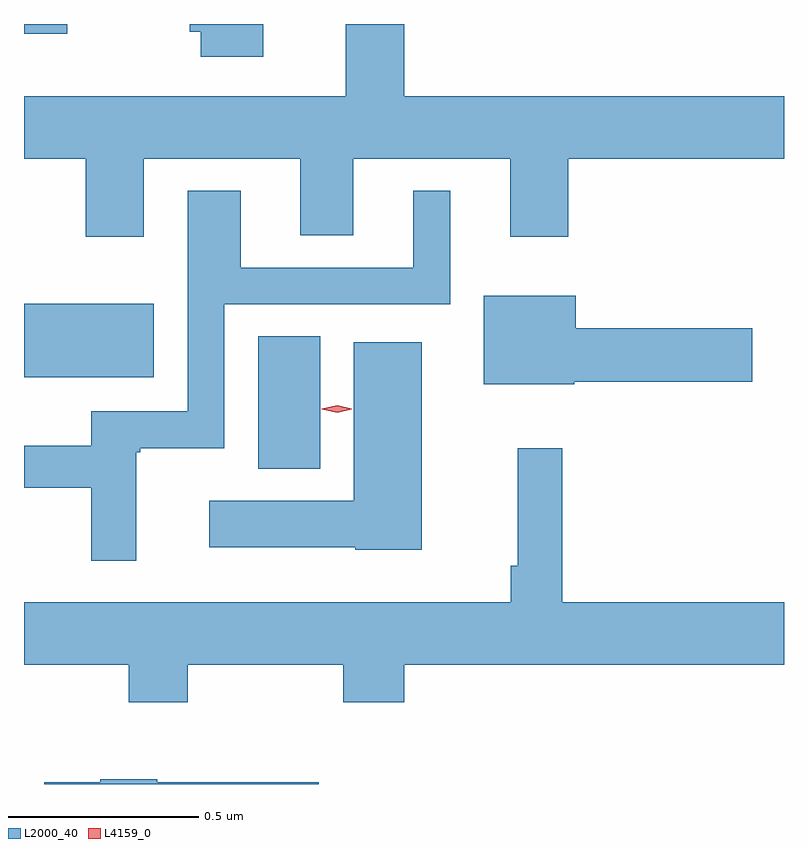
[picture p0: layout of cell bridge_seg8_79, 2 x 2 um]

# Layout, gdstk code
import gdstk
lib = gdstk.Library(unit=1e-6, precision=1e-09)
def R(c, l, rs):  # rectangles x0, y0, x1, y1
    for r in rs: c.add(gdstk.rectangle(r[:2], r[2:], *l))
def P(c, l, *ps):  # polygons
    for p in ps: c.add(gdstk.Polygon(p, *l))
L2000_40 = (2000, 40)
L4159_0 = (4159, 0)

bridge_seg8_79 = lib.new_cell('bridge_seg8_79')
R(bridge_seg8_79, L2000_40, [(1011.362,1093.04,1011.526,1093.388), (1010.746,1093.28,1011.088,1093.474), (1010.746,1094.184,1010.86,1094.21)])
P(bridge_seg8_79, L2000_40, [(1011.061,1093.856),(1011.473,1093.856),(1011.473,1093.654),(1011.613,1093.654),(1011.613,1093.856),(1012.025,1093.856),(1012.025,1093.65),(1012.178,1093.65),(1012.178,1093.856),(1012.746,1093.856),(1012.746,1094.02),(1011.746,1094.02),(1011.746,1094.21),(1011.593,1094.21),(1011.593,1094.02),(1010.746,1094.02),(1010.746,1093.856),(1010.909,1093.856),(1010.909,1093.65),(1011.061,1093.65)],
  [(1011.376,1094.21),(1011.182,1094.21),(1011.182,1094.189),(1011.211,1094.189),(1011.211,1094.124),(1011.376,1094.124)],
  [(1011.041,1093.083),(1011.052,1093.083),(1011.052,1093.094),(1011.273,1093.094),(1011.273,1093.473),(1011.868,1093.473),(1011.868,1093.771),(1011.77,1093.771),(1011.77,1093.569),(1011.316,1093.569),(1011.316,1093.771),(1011.177,1093.771),(1011.177,1093.191),(1010.923,1093.191),(1010.923,1093.1),(1010.746,1093.1),(1010.746,1092.99),(1010.923,1092.99),(1010.923,1092.798),(1011.041,1092.798)],
  [(1012.194,1093.268),(1012.663,1093.268),(1012.663,1093.41),(1012.198,1093.41),(1012.198,1093.495),(1011.956,1093.495),(1011.956,1093.262),(1012.194,1093.262)],
  [(1011.793,1093.372),(1011.614,1093.372),(1011.614,1092.955),(1011.234,1092.955),(1011.234,1092.833),(1011.618,1092.833),(1011.618,1092.827),(1011.793,1092.827)],
  [(1011.177,1092.524),(1011.586,1092.524),(1011.586,1092.425),(1011.746,1092.425),(1011.746,1092.524),(1012.746,1092.524),(1012.746,1092.688),(1012.163,1092.688),(1012.163,1093.093),(1012.045,1093.093),(1012.045,1092.784),(1012.027,1092.784),(1012.027,1092.688),(1010.746,1092.688),(1010.746,1092.524),(1011.022,1092.524),(1011.022,1092.425),(1011.177,1092.425)],
  [(1011.521,1092.214),(1011.096,1092.214),(1011.096,1092.223),(1010.946,1092.223),(1010.946,1092.214),(1010.799,1092.214),(1010.799,1092.21),(1011.521,1092.21)])
P(bridge_seg8_79, L4159_0, [(1011.57,1093.187),(1011.53,1093.196),(1011.53,1093.197),(1011.53,1093.197),(1011.57,1093.207),(1011.609,1093.197),(1011.609,1093.197),(1011.609,1093.196)])

lib.write_gds('bridge_seg8_79.gds')
